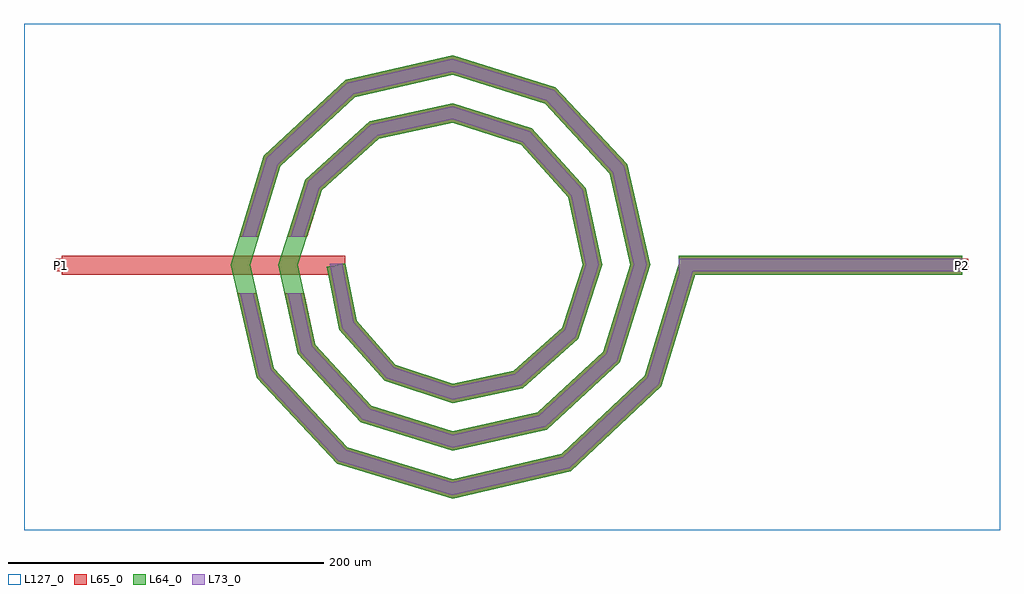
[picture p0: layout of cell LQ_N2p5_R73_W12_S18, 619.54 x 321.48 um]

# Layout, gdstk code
import gdstk
lib = gdstk.Library(unit=1e-6, precision=1e-09)
def R(c, l, rs):  # rectangles x0, y0, x1, y1
    for r in rs: c.add(gdstk.rectangle(r[:2], r[2:], *l))
def P(c, l, *ps):  # polygons
    for p in ps: c.add(gdstk.Polygon(p, *l))
L64_0 = (64, 0)
L65_0 = (65, 0)
L73_0 = (73, 0)
L127_0 = (127, 0)

lq_n2p5_r73_w12_s18 = lib.new_cell('LQ_N2p5_R73_W12_S18')
R(lq_n2p5_r73_w12_s18, L64_0, [(143.701,-6,323.701,6)])
P(lq_n2p5_r73_w12_s18, L64_0, [(-60.574,-35.415),(-36.026,-63.141),(0.36,-75.223),(39.177,-67.16),(69.693,-39.846),(82.807,0.329),(73.743,42.945),(43.662,76.248),(0.303,90.392),(-46.716,80.324),(-82.806,47.475),(-97.978,0.281),(-86.904,-50.491),(-51.285,-89.365),(0.262,-105.563),(54.268,-93.482),(95.925,-55.093),(113.149,0.245),(100.059,58.047),(58.899,102.487),(0.231,120.735),(-61.828,106.636),(-109.05,62.704),(-128.32,0.218),(-113.212,-65.61),(-66.507,-115.613),(0.206,-135.906),(69.393,-119.787),(122.177,-70.309),(143.958,1.736),(155.444,-1.736),(132.733,-76.863),(75.251,-130.743),(0.206,-148.324),(-73.079,-126.157),(-124.179,-71.448),(-140.737,0.218),(-119.581,69.296),(-67.644,117.615),(0.231,133.15),(65.515,113.004),(111.052,63.838),(125.564,0.245),(106.426,-61.735),(60.031,-104.489),(0.262,-117.977),(-57.956,-99.847),(-97.928,-56.222),(-110.39,0.281),(-93.266,54.18),(-52.41,91.368),(0.303,102.803),(50.407,86.684),(84.809,48.595),(95.216,0.329),(80.1,-46.636),(44.777,-78.253),(0.36,-87.628),(-42.871,-73.512),(-71.699,-40.953),(-79.721,-1.186),(-67.958,1.186)])
R(lq_n2p5_r73_w12_s18, L65_0, [(-247.839,-6,-67.839,6), (143.701,-6,323.701,6), (-251.839,-4,-243.839,4), (319.701,-4,327.701,4)])
P(lq_n2p5_r73_w12_s18, L65_0, [(-113.212,-65.61),(-66.507,-115.613),(0.206,-135.906),(69.393,-119.787),(122.178,-70.309),(143.958,1.736),(155.444,-1.736),(132.733,-76.863),(75.251,-130.743),(0.206,-148.324),(-73.079,-126.157),(-124.179,-71.448),(-136.528,-18),(-124.212,-18)],
  [(-86.904,-50.491),(-51.285,-89.365),(0.262,-105.563),(54.268,-93.482),(95.925,-55.093),(113.149,0.245),(100.059,58.047),(58.899,102.487),(0.231,120.735),(-61.828,106.636),(-109.05,62.704),(-122.741,18),(-135.291,18),(-119.581,69.296),(-67.644,117.615),(0.231,133.151),(65.515,113.004),(111.052,63.838),(125.564,0.245),(106.426,-61.735),(60.031,-104.489),(0.262,-117.977),(-57.956,-99.847),(-97.928,-56.222),(-106.358,-18),(-94.07,-18)],
  [(-36.026,-63.141),(0.36,-75.223),(39.177,-67.16),(69.693,-39.846),(82.807,0.329),(73.743,42.945),(43.662,76.248),(0.303,90.392),(-46.716,80.324),(-82.806,47.475),(-92.17,18),(-104.761,18),(-93.266,54.18),(-52.41,91.368),(0.303,102.803),(50.407,86.684),(84.809,48.595),(95.216,0.329),(80.1,-46.637),(44.777,-78.253),(0.36,-87.628),(-42.871,-73.512),(-71.699,-40.953),(-79.721,-1.186),(-67.958,1.186),(-60.574,-35.415)])
R(lq_n2p5_r73_w12_s18, L73_0, [(143.701,-4,323.701,4)])
P(lq_n2p5_r73_w12_s18, L73_0, [(-115.04,-66.583),(-67.602,-117.371),(0.137,-137.976),(70.369,-121.613),(123.937,-71.402),(145.872,1.158),(153.53,-1.158),(130.973,-75.771),(74.275,-128.917),(0.137,-146.254),(-71.984,-124.4),(-122.351,-70.475),(-134.475,-18),(-126.265,-18)],
  [(-88.741,-51.446),(-52.397,-91.112),(0.175,-107.632),(55.228,-95.317),(97.675,-56.2),(115.218,0.164),(101.891,59.012),(60.002,104.24),(0.154,122.804),(-62.797,108.466),(-110.805,63.802),(-124.833,18),(-133.199,18),(-117.826,68.198),(-66.674,115.785),(0.154,131.081),(64.412,111.251),(109.22,62.873),(123.495,0.164),(104.676,-60.628),(59.071,-102.655),(0.175,-115.908),(-56.844,-98.1),(-96.091,-55.267),(-104.31,-18),(-96.118,-18)],
  [(-37.167,-64.869),(0.24,-77.29),(40.111,-69.009),(71.427,-40.978),(84.875,0.219),(75.587,43.887),(44.786,77.987),(0.202,92.461),(-47.665,82.165),(-84.549,48.593),(-94.268,18),(-102.662,18),(-91.523,53.063),(-51.461,89.527),(0.202,100.735),(49.283,84.945),(82.965,47.654),(93.148,0.219),(78.365,-45.505),(43.843,-76.404),(0.24,-85.56),(-41.73,-71.784),(-69.845,-40.03),(-77.76,0.791),(-69.918,0.791),(-62.428,-36.338)])
R(lq_n2p5_r73_w12_s18, L127_0, [(-271.839,-168.324,347.701,153.151)])
lq_n2p5_r73_w12_s18.add(gdstk.Label('P2', (323.701,0), layer=65, texttype=0))
lq_n2p5_r73_w12_s18.add(gdstk.Label('P1', (-247.839,0), layer=65, texttype=0))
lq_n2p5_r73_w12_s18.add(gdstk.Label('P2', (327.701,0), layer=145, texttype=0))
lq_n2p5_r73_w12_s18.add(gdstk.Label('P1', (-251.839,0), layer=145, texttype=0))

lib.write_gds('LQ_N2p5_R73_W12_S18.gds')
